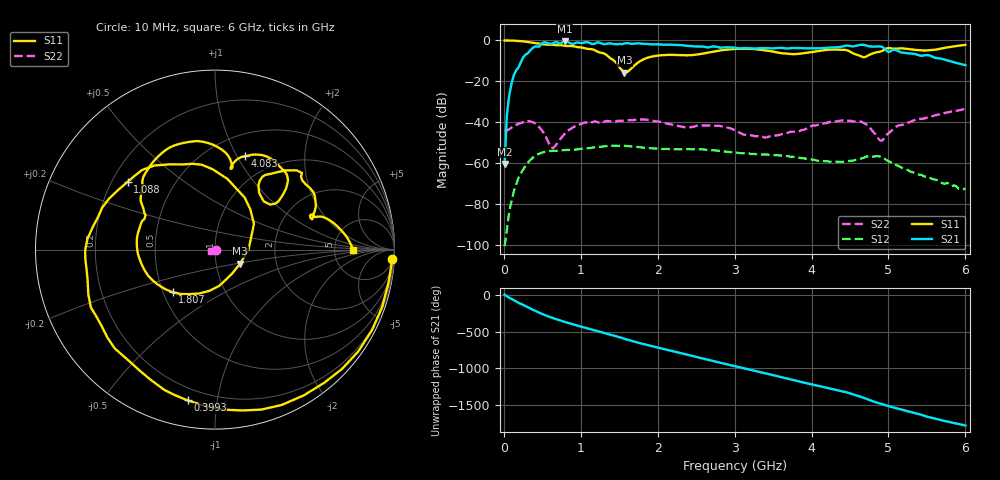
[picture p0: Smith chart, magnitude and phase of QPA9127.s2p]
!  13.04.2021  17:18:41
! Ref Plane: 0,000 mm
# MHZ S MA R  50
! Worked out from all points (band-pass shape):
!   201 points, 10 MHz to 6 GHz, reference 50 ohm
!   highest |S21| = -0.43 dB at 788.7 MHz (marker M1); lowest = -60.5 dB at 10 MHz (marker M2)
!   |S21| within 3 dB of the highest: 389.3 MHz to 2.638 GHz (2.248 GHz wide, 149 % of centre); 4.334 GHz to 4.927 GHz (592.3 MHz wide, 12.8 % of centre)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
!   lowest |S11| = -15.9 dB at 1.567 GHz (marker M3), VSWR 1.38, Z = 65.3 - j10.4 ohm
!   |S11| at or under -10 dB: 1.432 GHz to 1.783 GHz (350.7 MHz wide, 21.8 % of centre)
!   |S22| runs from -52.9 to -33.6 dB; largest |S21 - S12| = 0.95
!   S11 on the Smith chart (normalised r, x): 10 MHz: 7, -35; 399.4 MHz: 0.13, -0.83; 1.088 GHz: 0.26, +0.32; 1.807 GHz: 0.56, -0.30; 4.083 GHz: 0.73, +1.07; 6 GHz: 7.71, -0.15
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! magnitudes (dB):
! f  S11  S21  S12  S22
! 10 MHz  -0.1  -60.5  -100.8  -44.3
! 39.95 MHz  -0.1  -36.3  -92.8  -44.1
! 99.85 MHz  -0.1  -21.3  -78.8  -42.8
! 189.7 MHz  -0.4  -13.4  -67.5  -40.9
! 399.4 MHz  -1.4  -3.1  -56.7  -40.5
! 639 MHz  -2.2  -1.5  -54.2  -52.9
! 788.7 MHz  -2.7  -0.4  -53.8  -45.9
! 1.028 GHz  -3.7  -1.3  -53.1  -40.5
! 1.088 GHz  -4.2  -0.9  -52.9  -40.2
! 1.328 GHz  -7.0  -1.8  -51.9  -39.6
! 1.567 GHz  -15.9  -1.6  -51.7  -39.2
! 1.807 GHz  -9.5  -1.7  -52.5  -38.8
! 2.017 GHz  -7.5  -2.0  -53.1  -39.8
! 3.005 GHz  -4.2  -3.7  -55.0  -44.1
! 3.394 GHz  -4.9  -3.9  -56.0  -47.6
! 4.023 GHz  -5.6  -3.9  -58.5  -41.8
! 4.083 GHz  -5.3  -3.9  -59.0  -41.4
! 4.622 GHz  -7.5  -2.3  -58.1  -39.6
! 4.892 GHz  -5.6  -3.0  -56.9  -49.1
! 5.012 GHz  -3.8  -5.7  -59.4  -45.2
! 5.371 GHz  -4.8  -7.0  -65.5  -38.7
! 6 GHz  -2.3  -12.2  -72.5  -33.6
